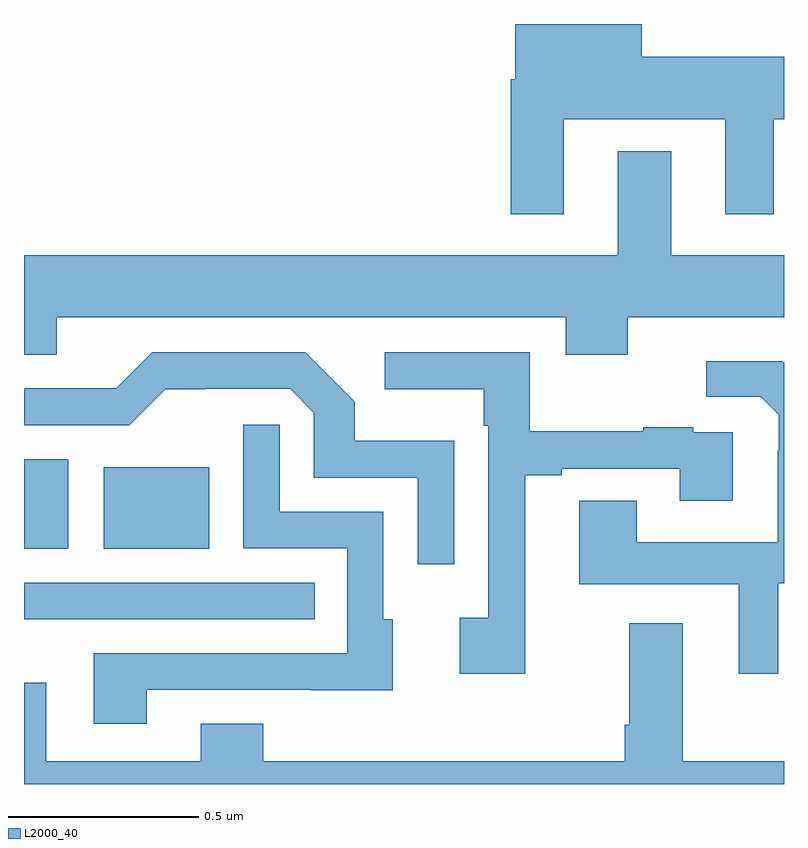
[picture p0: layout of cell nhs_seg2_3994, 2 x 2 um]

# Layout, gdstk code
import gdstk
lib = gdstk.Library(unit=1e-6, precision=1e-09)
def R(c, l, rs):  # rectangles x0, y0, x1, y1
    for r in rs: c.add(gdstk.rectangle(r[:2], r[2:], *l))
def P(c, l, *ps):  # polygons
    for p in ps: c.add(gdstk.Polygon(p, *l))
L2000_40 = (2000, 40)

nhs_seg2_3994 = lib.new_cell('nhs_seg2_3994')
R(nhs_seg2_3994, L2000_40, [(161,588.419,161.116,588.655), (161.21,588.419,161.488,588.634)])
P(nhs_seg2_3994, L2000_40, [(162.421,589.55),(162.845,589.55),(162.845,589.299),(162.973,589.299),(162.973,589.55),(163,589.55),(163,589.714),(162.625,589.714),(162.625,589.8),(162.293,589.8),(162.293,589.654),(162.281,589.654),(162.281,589.299),(162.421,589.299)],
  [(162.589,589.028),(163,589.028),(163,589.192),(162.703,589.192),(162.703,589.465),(162.563,589.465),(162.563,589.192),(161,589.192),(161,588.93),(161.086,588.93),(161.086,589.028),(162.425,589.028),(162.425,588.929),(162.589,588.929)],
  [(162.319,588.612),(162.415,588.612),(162.415,588.63),(162.725,588.63),(162.725,588.546),(162.865,588.546),(162.865,588.726),(162.761,588.726),(162.761,588.739),(162.629,588.739),(162.629,588.728),(162.331,588.728),(162.331,588.936),(161.949,588.936),(161.949,588.839),(162.21,588.839),(162.21,588.743),(162.222,588.743),(162.222,588.238),(162.147,588.238),(162.147,588.09),(162.319,588.09)],
  [(162.132,588.703),(161.871,588.703),(161.871,588.806),(161.74,588.936),(161.337,588.936),(161.243,588.842),(161.002,588.842),(161.002,588.837),(161,588.837),(161,588.744),(161.277,588.744),(161.372,588.839),(161.476,588.839),(161.476,588.84),(161.7,588.84),(161.763,588.777),(161.763,588.606),(162.036,588.606),(162.036,588.378),(162.132,588.378)],
  [(162.985,588.328),(163,588.328),(163,588.908),(162.995,588.913),(162.795,588.913),(162.795,588.819),(162.939,588.819),(162.986,588.772),(162.986,588.677),(162.984,588.677),(162.984,588.436),(162.613,588.436),(162.613,588.545),(162.461,588.545),(162.461,588.326),(162.881,588.326),(162.881,588.09),(162.985,588.09)],
  [(161.323,588.048),(161.753,588.048),(161.753,588.047),(161.971,588.047),(161.971,588.234),(161.946,588.234),(161.946,588.516),(161.673,588.516),(161.673,588.745),(161.577,588.745),(161.577,588.42),(161.85,588.42),(161.85,588.144),(161.183,588.144),(161.183,587.958),(161.323,587.958)],
  [(161.087,588.234),(161.765,588.234),(161.765,588.33),(161,588.33),(161,588.233),(161.087,588.233)],
  [(163,587.86),(162.733,587.86),(162.733,588.223),(162.593,588.223),(162.593,587.956),(162.581,587.956),(162.581,587.86),(161.629,587.86),(161.629,587.959),(161.465,587.959),(161.465,587.86),(161.059,587.86),(161.059,588.067),(161,588.067),(161,587.8),(163,587.8)])

lib.write_gds('nhs_seg2_3994.gds')
